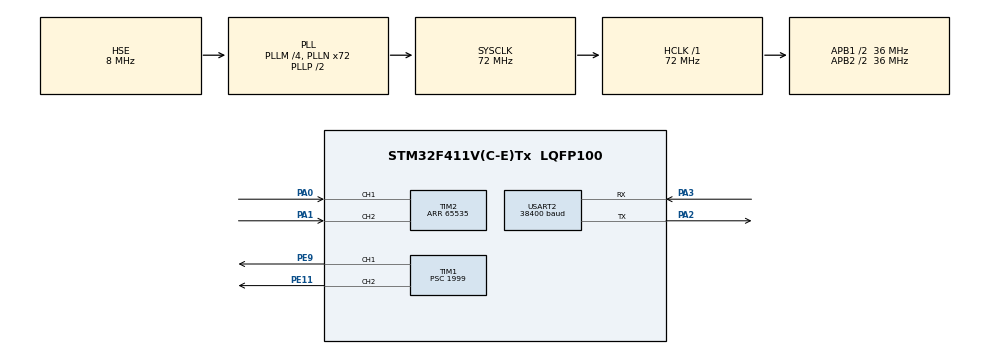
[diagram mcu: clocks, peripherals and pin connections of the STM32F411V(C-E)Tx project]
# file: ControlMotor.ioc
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Mcu.Family=STM32F4
Mcu.Name=STM32F411V(C-E)Tx
Mcu.Package=LQFP100
NVIC.PriorityGroup=NVIC_PRIORITYGROUP_0
NVIC.TIM2_IRQn=true\:0\:0\:false\:false\:true\:true\:true\:true
NVIC.USART2_IRQn=true\:0\:0\:false\:false\:true\:true\:true\:true
PA0-WKUP.GPIO_PuPd=GPIO_PULLUP
PA0-WKUP.Signal=S_TIM2_CH1_ETR
PA1.GPIO_PuPd=GPIO_PULLUP
PA1.Signal=S_TIM2_CH2
PA13.Mode=Serial_Wire
PA13.Signal=SYS_JTMS-SWDIO
PA14.Mode=Serial_Wire
PA14.Signal=SYS_JTCK-SWCLK
PA2.Mode=Asynchronous
PA2.Signal=USART2_TX
PA3.Mode=Asynchronous
PA3.Signal=USART2_RX
PE11.Signal=S_TIM1_CH2
PE9.Signal=S_TIM1_CH1
PH0\ -\ OSC_IN.Mode=HSE-External-Oscillator
PH0\ -\ OSC_IN.Signal=RCC_OSC_IN
PH1\ -\ OSC_OUT.Mode=HSE-External-Oscillator
PH1\ -\ OSC_OUT.Signal=RCC_OSC_OUT
ProjectManager.HeapSize=0x200
ProjectManager.StackSize=0x400
ProjectManager.TargetToolchain=STM32CubeIDE
RCC.48MHZClocksFreq_Value=18000000
RCC.AHBFreq_Value=72000000
RCC.APB1CLKDivider=RCC_HCLK_DIV2
RCC.APB1Freq_Value=36000000
RCC.APB1TimFreq_Value=72000000
RCC.APB2CLKDivider=RCC_HCLK_DIV2
RCC.APB2Freq_Value=36000000
RCC.APB2TimFreq_Value=72000000
RCC.CortexFreq_Value=72000000
RCC.HCLKFreq_Value=72000000
RCC.HSE_VALUE=8000000
RCC.HSI_VALUE=16000000
RCC.LSE_VALUE=32768
RCC.PLLI2SM=5
RCC.PLLI2SN=200
RCC.PLLM=4
RCC.PLLN=72
RCC.PLLQ=8
RCC.PLLSourceVirtual=RCC_PLLSOURCE_HSE
RCC.SYSCLKFreq_VALUE=72000000
RCC.SYSCLKSource=RCC_SYSCLKSOURCE_PLLCLK
RCC.VCOOutputFreq_Value=144000000
SH.S_TIM1_CH1.0=TIM1_CH1,PWM Generation1 CH1
SH.S_TIM1_CH2.0=TIM1_CH2,PWM Generation2 CH2
SH.S_TIM2_CH1_ETR.0=TIM2_CH1,Encoder_Interface
SH.S_TIM2_CH2.0=TIM2_CH2,Encoder_Interface
TIM1.Channel-PWM\ Generation1\ CH1=TIM_CHANNEL_1
TIM1.Channel-PWM\ Generation2\ CH2=TIM_CHANNEL_2
TIM1.Period=255
TIM1.Prescaler=1999
TIM2.EncoderMode=TIM_ENCODERMODE_TI12
TIM2.IC1Polarity=TIM_ICPOLARITY_FALLING
TIM2.IC2Polarity=TIM_ICPOLARITY_FALLING
TIM2.Period=65535
USART2.BaudRate=38400
USART2.VirtualMode=VM_ASYNC
board=STM32F411E-DISCO

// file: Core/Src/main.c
/* USER CODE BEGIN Header */
/**
  ******************************************************************************
  * @file           : main.c
  * @brief          : Main program body
  ******************************************************************************
  * @attention
  *
  * Copyright (c) 2024 STMicroelectronics.
  * All rights reserved.
  *
  * This software is licensed under terms that can be found in the LICENSE file
  * in the root directory of this software component.
  * If no LICENSE file comes with this software, it is provided AS-IS.
  *
  ******************************************************************************
  */
/* USER CODE END Header */
#include "main.h"
#include <math.h>

TIM_HandleTypeDef htim1;
TIM_HandleTypeDef htim2;

UART_HandleTypeDef huart2;

/* USER CODE BEGIN PV */
#define clickVuelta 48
/* USER CODE END PV */

void SystemClock_Config(void);
static void MX_GPIO_Init(void);
static void MX_TIM2_Init(void);
static void MX_USART2_UART_Init(void);
static void MX_TIM1_Init(void);
/* USER CODE BEGIN PFP */
uint8_t joystick;

/* USER CODE END PFP */

/* USER CODE BEGIN 0 */
uint32_t counter=0;
int16_t count; //PErmite controlar el overflow. cuando hace overflow cambia de signo
//Ver cuantos clicks esta contando por cada vez que aumenta el counter
int16_t position=0;
int speed[4] = {0};
int actualSpeed = 0;

volatile int8_t cplt_rx_flag=0;
void HAL_TIM_IC_CaptureCallback(TIM_HandleTypeDef *htim){
	counter= __HAL_TIM_GET_COUNTER(htim);
	count = (int16_t)counter; // To have + and - values (ccw and cw)
	position = count;
}

void HAL_UART_RxCpltCallback(UART_HandleTypeDef *huart) {
	cplt_rx_flag=1;
    HAL_UART_Receive_IT(&huart2, &joystick, 1);
}
/* USER CODE END 0 */

int main(void)
{

  /* MCU Configuration--------------------------------------------------------*/

  /* Reset of all peripherals, Initializes the Flash interface and the Systick. */
  HAL_Init();

  /* Configure the system clock */
  SystemClock_Config();

  /* Initialize all configured peripherals */
  MX_GPIO_Init();
  MX_TIM2_Init();
  MX_USART2_UART_Init();
  MX_TIM1_Init();
  /* USER CODE BEGIN 2 */
  HAL_TIM_Encoder_Start_IT(&htim2, TIM_CHANNEL_ALL);
  HAL_TIM_PWM_Start(&htim1, TIM_CHANNEL_1);
  HAL_TIM_PWM_Start(&htim1, TIM_CHANNEL_2);

  __HAL_TIM_SET_COMPARE(&htim1, TIM_CHANNEL_1, 0);
  __HAL_TIM_SET_COMPARE(&htim1, TIM_CHANNEL_2, 255);

  /* USER CODE END 2 */

  /* Infinite loop */
  /* USER CODE BEGIN WHILE */

  HAL_UART_Receive_IT(&huart2, &joystick, 1);

 while (1)
  {
    /* USER CODE END WHILE */

    /* USER CODE BEGIN 3 */

	 if(cplt_rx_flag==1)
	 {
		 cplt_rx_flag=0;
		 //Mejorar respuesta del motor ante cambios de consigna --> la respuesta original es no lineal
		 float correctionVal = 255 * log2(joystick + 1) / log2f(256) ;
		 __HAL_TIM_SET_COMPARE(&htim1, TIM_CHANNEL_2,(int) correctionVal);
	 }

  }
  /* USER CODE END 3 */
}

void SystemClock_Config(void)
{
  RCC_OscInitTypeDef RCC_OscInitStruct = {0};
  RCC_ClkInitTypeDef RCC_ClkInitStruct = {0};

  /** Configure the main internal regulator output voltage
  */
  __HAL_RCC_PWR_CLK_ENABLE();
  __HAL_PWR_VOLTAGESCALING_CONFIG(PWR_REGULATOR_VOLTAGE_SCALE1);

  /** Initializes the RCC Oscillators according to the specified parameters
  * in the RCC_OscInitTypeDef structure.
  */
  RCC_OscInitStruct.OscillatorType = RCC_OSCILLATORTYPE_HSE;
  RCC_OscInitStruct.HSEState = RCC_HSE_ON;
  RCC_OscInitStruct.PLL.PLLState = RCC_PLL_ON;
  RCC_OscInitStruct.PLL.PLLSource = RCC_PLLSOURCE_HSE;
  RCC_OscInitStruct.PLL.PLLM = 4;
  RCC_OscInitStruct.PLL.PLLN = 72;
  RCC_OscInitStruct.PLL.PLLP = RCC_PLLP_DIV2;
  RCC_OscInitStruct.PLL.PLLQ = 8;
  if (HAL_RCC_OscConfig(&RCC_OscInitStruct) != HAL_OK)
  {
    Error_Handler();
  }

  /** Initializes the CPU, AHB and APB buses clocks
  */
  RCC_ClkInitStruct.ClockType = RCC_CLOCKTYPE_HCLK|RCC_CLOCKTYPE_SYSCLK
                              |RCC_CLOCKTYPE_PCLK1|RCC_CLOCKTYPE_PCLK2;
  RCC_ClkInitStruct.SYSCLKSource = RCC_SYSCLKSOURCE_PLLCLK;
  RCC_ClkInitStruct.AHBCLKDivider = RCC_SYSCLK_DIV1;
  RCC_ClkInitStruct.APB1CLKDivider = RCC_HCLK_DIV2;
  RCC_ClkInitStruct.APB2CLKDivider = RCC_HCLK_DIV2;

  if (HAL_RCC_ClockConfig(&RCC_ClkInitStruct, FLASH_LATENCY_2) != HAL_OK)
  {
    Error_Handler();
  }
}

static void MX_TIM1_Init(void)
{

  TIM_MasterConfigTypeDef sMasterConfig = {0};
  TIM_OC_InitTypeDef sConfigOC = {0};
  TIM_BreakDeadTimeConfigTypeDef sBreakDeadTimeConfig = {0};

  htim1.Instance = TIM1;
  htim1.Init.Prescaler = 1999;
  htim1.Init.CounterMode = TIM_COUNTERMODE_UP;
  htim1.Init.Period = 255;
  htim1.Init.ClockDivision = TIM_CLOCKDIVISION_DIV1;
  htim1.Init.RepetitionCounter = 0;
  htim1.Init.AutoReloadPreload = TIM_AUTORELOAD_PRELOAD_DISABLE;
  if (HAL_TIM_PWM_Init(&htim1) != HAL_OK)
  {
    Error_Handler();
  }
  sMasterConfig.MasterOutputTrigger = TIM_TRGO_RESET;
  sMasterConfig.MasterSlaveMode = TIM_MASTERSLAVEMODE_DISABLE;
  if (HAL_TIMEx_MasterConfigSynchronization(&htim1, &sMasterConfig) != HAL_OK)
  {
    Error_Handler();
  }
  sConfigOC.OCMode = TIM_OCMODE_PWM1;
  sConfigOC.Pulse = 0;
  sConfigOC.OCPolarity = TIM_OCPOLARITY_HIGH;
  sConfigOC.OCNPolarity = TIM_OCNPOLARITY_HIGH;
  sConfigOC.OCFastMode = TIM_OCFAST_DISABLE;
  sConfigOC.OCIdleState = TIM_OCIDLESTATE_RESET;
  sConfigOC.OCNIdleState = TIM_OCNIDLESTATE_RESET;
  if (HAL_TIM_PWM_ConfigChannel(&htim1, &sConfigOC, TIM_CHANNEL_1) != HAL_OK)
  {
    Error_Handler();
  }
  if (HAL_TIM_PWM_ConfigChannel(&htim1, &sConfigOC, TIM_CHANNEL_2) != HAL_OK)
  {
    Error_Handler();
  }
  sBreakDeadTimeConfig.OffStateRunMode = TIM_OSSR_DISABLE;
  sBreakDeadTimeConfig.OffStateIDLEMode = TIM_OSSI_DISABLE;
  sBreakDeadTimeConfig.LockLevel = TIM_LOCKLEVEL_OFF;
  sBreakDeadTimeConfig.DeadTime = 0;
  sBreakDeadTimeConfig.BreakState = TIM_BREAK_DISABLE;
  sBreakDeadTimeConfig.BreakPolarity = TIM_BREAKPOLARITY_HIGH;
  sBreakDeadTimeConfig.AutomaticOutput = TIM_AUTOMATICOUTPUT_DISABLE;
  if (HAL_TIMEx_ConfigBreakDeadTime(&htim1, &sBreakDeadTimeConfig) != HAL_OK)
  {
    Error_Handler();
  }
  HAL_TIM_MspPostInit(&htim1);

}

static void MX_TIM2_Init(void)
{

  TIM_Encoder_InitTypeDef sConfig = {0};
  TIM_MasterConfigTypeDef sMasterConfig = {0};

  htim2.Instance = TIM2;
  htim2.Init.Prescaler = 0;
  htim2.Init.CounterMode = TIM_COUNTERMODE_UP;
  htim2.Init.Period = 65535;
  htim2.Init.ClockDivision = TIM_CLOCKDIVISION_DIV1;
  htim2.Init.AutoReloadPreload = TIM_AUTORELOAD_PRELOAD_DISABLE;
  sConfig.EncoderMode = TIM_ENCODERMODE_TI12;
  sConfig.IC1Polarity = TIM_ICPOLARITY_FALLING;
  sConfig.IC1Selection = TIM_ICSELECTION_DIRECTTI;
  sConfig.IC1Prescaler = TIM_ICPSC_DIV1;
  sConfig.IC1Filter = 0;
  sConfig.IC2Polarity = TIM_ICPOLARITY_FALLING;
  sConfig.IC2Selection = TIM_ICSELECTION_DIRECTTI;
  sConfig.IC2Prescaler = TIM_ICPSC_DIV1;
  sConfig.IC2Filter = 0;
  if (HAL_TIM_Encoder_Init(&htim2, &sConfig) != HAL_OK)
  {
    Error_Handler();
  }
  sMasterConfig.MasterOutputTrigger = TIM_TRGO_RESET;
  sMasterConfig.MasterSlaveMode = TIM_MASTERSLAVEMODE_DISABLE;
  if (HAL_TIMEx_MasterConfigSynchronization(&htim2, &sMasterConfig) != HAL_OK)
  {
    Error_Handler();
  }

}

static void MX_USART2_UART_Init(void)
{

  huart2.Instance = USART2;
  huart2.Init.BaudRate = 38400;
  huart2.Init.WordLength = UART_WORDLENGTH_8B;
  huart2.Init.StopBits = UART_STOPBITS_1;
  huart2.Init.Parity = UART_PARITY_NONE;
  huart2.Init.Mode = UART_MODE_TX_RX;
  huart2.Init.HwFlowCtl = UART_HWCONTROL_NONE;
  huart2.Init.OverSampling = UART_OVERSAMPLING_16;
  if (HAL_UART_Init(&huart2) != HAL_OK)
  {
    Error_Handler();
  }

}

static void MX_GPIO_Init(void)
{

  /* GPIO Ports Clock Enable */
  __HAL_RCC_GPIOH_CLK_ENABLE();
  __HAL_RCC_GPIOA_CLK_ENABLE();
  __HAL_RCC_GPIOE_CLK_ENABLE();

}

void Error_Handler(void)
{
  __disable_irq();
  while (1)
  {
  }
}
